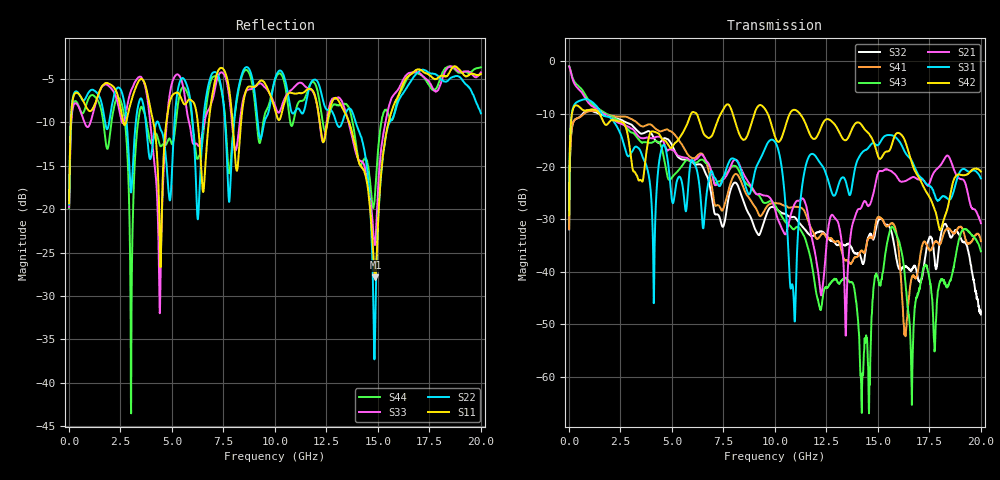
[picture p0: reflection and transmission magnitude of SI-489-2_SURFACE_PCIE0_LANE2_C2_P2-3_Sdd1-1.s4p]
! S11 = S11
! S12 = S12
! S13 = S13
! S14 = S14
! S21 = S21
! S22 = S22
! S23 = S23
! S24 = S24
! S31 = S31
! S32 = S32
! S33 = S33
! S34 = S34
! S41 = S41
! S42 = S42
! S43 = S43
! S44 = S44
! FILE: E:\Projects\06_2015\060415_VNA_EOS_MUX_EVAL\SI-489-2_EOS_MUX_EVAL_A0_B0_SEL=0.s4p
!$DUT_CFG_DESC: Default 4-Port Configuration
!$NUMBER_PORTS: 4
!$DIFF_PORT_MAP: 1|2P|2|2P|0|UC|0|UC|
!$PORT_MAP: 1|1|<<<<<<|2|2|>>>>>>|3|3|<<<<<<|4|4|>>>>>>|
# MHz S RI R 50.00
! FREQ  S11  S12  S13  S14
!  S21  S22  S23  S24
!  S31  S32  S33  S34
!  S41  S42  S43  S44
!  REAL  IMAG  REAL  IMAG  REAL  IMAG  REAL  IMAG
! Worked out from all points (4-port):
!   2000 points, 10 MHz to 20 GHz, reference 50 ohm
!   strongest paths, dB at 10 MHz, 5.01 GHz, 10.01 GHz, 15.01 GHz, 20 GHz:
!     S42: -29.3, -16.3, -14.4, -18.1, -21.0
!     S31: -29.2, -26.6, -15.3, -15.9, -22.2
!     S21: -1.0, -16.8, -28.2, -21.2, -30.8
!     S43: -0.9, -22.0, -27.4, -41.5, -36.1
!     S41: -31.9, -13.5, -26.9, -29.7, -34.2
!     S32: -31.9, -16.0, -27.9, -30.4, -48.1
!   lowest |S11| = -27.9 dB at 14.88 GHz (marker M1), VSWR 1.08, Z = 52.2 - j3.49 ohm
!   |S11| at or under -10 dB: 4.102 GHz to 4.73 GHz (627.9 MHz wide, 14.2 % of centre); 6.256 GHz to 6.789 GHz (533.6 MHz wide, 8.18 % of centre); 13.61 GHz to 15.52 GHz (1.912 GHz wide, 13.1 % of centre)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
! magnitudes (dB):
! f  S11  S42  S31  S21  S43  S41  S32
! 10 MHz  -19.3  -29.3  -29.2  -1.0  -0.9  -31.9  -31.9
! 9.91 GHz  -7.8  -13.1  -15.0  -27.0  -26.8  -26.9  -27.7
! 10.91 GHz  -6.7  -9.2  -44.9  -27.5  -31.9  -27.7  -29.6
! 11.65 GHz  -6.1  -13.4  -18.1  -30.2  -36.2  -30.7  -32.9
! 14.22 GHz  -15.2  -12.2  -17.4  -27.6  -66.9  -36.0  -38.0
! 14.88 GHz  -27.9  -16.4  -15.8  -23.3  -40.9  -31.1  -32.3
! 20 GHz  -4.4  -21.0  -22.2  -30.8  -36.1  -34.2  -48.1
